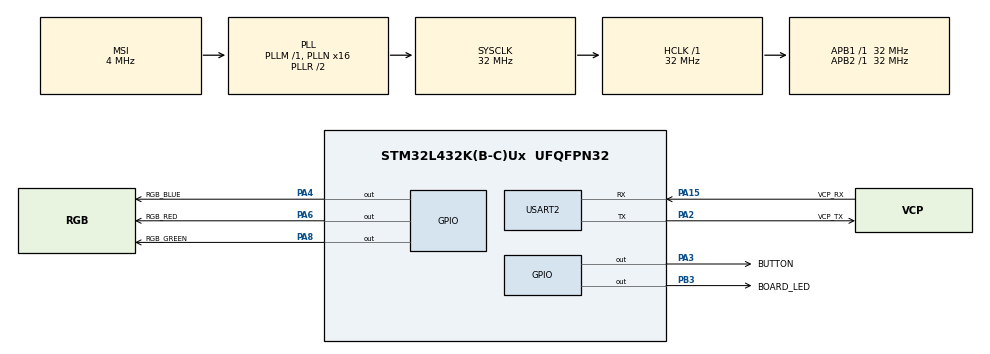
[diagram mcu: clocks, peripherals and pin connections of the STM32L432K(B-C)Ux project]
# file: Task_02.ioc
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Mcu.Family=STM32L4
Mcu.Name=STM32L432K(B-C)Ux
Mcu.Package=UFQFPN32
NVIC.PriorityGroup=NVIC_PRIORITYGROUP_4
NVIC.TIM1_UP_TIM16_IRQn=true\:0\:0\:false\:false\:true\:true\:true
PA0.GPIO_Label=MCO [High speed clock in]
PA0.Mode=HSE-External-Clock-Source-for-LittleOrca
PA0.Signal=RCC_CK_IN
PA13\ (JTMS-SWDIO).GPIO_Label=SWDIO
PA13\ (JTMS-SWDIO).Mode=Serial_Wire
PA13\ (JTMS-SWDIO).Signal=SYS_JTMS-SWDIO
PA14\ (JTCK-SWCLK).GPIO_Label=SWCLK
PA14\ (JTCK-SWCLK).Mode=Serial_Wire
PA14\ (JTCK-SWCLK).Signal=SYS_JTCK-SWCLK
PA15\ (JTDI).GPIO_Label=VCP_RX
PA15\ (JTDI).Mode=Asynchronous
PA15\ (JTDI).Signal=USART2_RX
PA2.GPIO_Label=VCP_TX
PA2.Mode=Asynchronous
PA2.Signal=USART2_TX
PA3.GPIO_Label=BUTTON
PA3.Signal=GPIO_Output
PA4.GPIO_Label=RGB_BLUE
PA4.Signal=GPIO_Output
PA6.GPIO_Label=RGB_RED
PA6.Signal=GPIO_Output
PA8.GPIO_Label=RGB_GREEN
PA8.Signal=GPIO_Output
PB3\ (JTDO-TRACESWO).GPIO_Label=BOARD_LED
PB3\ (JTDO-TRACESWO).Signal=GPIO_Output
PC14-OSC32_IN\ (PC14).Mode=LSE-External-Oscillator
PC14-OSC32_IN\ (PC14).Signal=RCC_OSC32_IN
PC15-OSC32_OUT\ (PC15).Mode=LSE-External-Oscillator
PC15-OSC32_OUT\ (PC15).Signal=RCC_OSC32_OUT
ProjectManager.HeapSize=0x200
ProjectManager.StackSize=0x400
ProjectManager.TargetToolchain=STM32CubeIDE
RCC.AHBFreq_Value=32000000
RCC.APB1Freq_Value=32000000
RCC.APB1TimFreq_Value=32000000
RCC.APB2Freq_Value=32000000
RCC.APB2TimFreq_Value=32000000
RCC.CortexFreq_Value=32000000
RCC.HCLKFreq_Value=32000000
RCC.HSE_VALUE=8000000
RCC.HSI16_VALUE=16000000
RCC.HSI48_VALUE=48000000
RCC.HSI_VALUE=16000000
RCC.MSI_VALUE=4000000
RCC.PLLMUL=RCC_PLLMUL_4
RCC.PLLN=16
RCC.SYSCLKFreq_VALUE=32000000
RCC.SYSCLKSource=RCC_SYSCLKSOURCE_PLLCLK
RCC.VCOOutputFreq_Value=64000000
TIM16.AutoReloadPreload=TIM_AUTORELOAD_PRELOAD_ENABLE
TIM16.Period=65536-1
TIM16.Prescaler=32000-1
USART2.VirtualMode-Asynchronous=VM_ASYNC
VP_TIM16_VS_ClockSourceINT.Mode=Enable_Timer
board=NUCLEO-L432KC

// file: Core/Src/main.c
/* USER CODE BEGIN Header */
/**
  ******************************************************************************
  * @file           : main.c
  * @brief          : Main program body
  ******************************************************************************
  * @attention
  *
  * <h2><center>&copy; Copyright (c) 2021 STMicroelectronics.
  * All rights reserved.</center></h2>
  *
  * This software component is licensed by ST under BSD 3-Clause license,
  * the "License"; You may not use this file except in compliance with the
  * License. You may obtain a copy of the License at:
  *                        opensource.org/licenses/BSD-3-Clause
  *
  ******************************************************************************
  */
/* USER CODE END Header */
#include "main.h"

/* USER CODE BEGIN PD */
// Page 1138 - HAL Reference - Callback Registration
//#define USE_HAL_TIM_REGISTER_CALLBACK 1
/* USER CODE END PD */

/* USER CODE BEGIN PM */

// Uncomment this to test timeout_blocking functionality
//#define BLOCKING
// Uncomment this to test timeout_nonblocking functionality
#define NON_BLOCKING

/* USER CODE END PM */

TIM_HandleTypeDef htim16;

UART_HandleTypeDef huart2;

/* USER CODE BEGIN PV */
uint8_t callback_flag = 0;
uint8_t timer_flag = 0;
uint8_t led_switcher = 0;
enum switcher{
	RED,
	GREEN,
	BLUE,
	OFF
};
//void *callback;
// Definition can be overridden to use different return types or parameters
#ifndef CALLBACK
#define CALLBACK
typedef void (*CB)(void);
CB callback=NULL;
#endif
/* USER CODE END PV */

void SystemClock_Config(void);
static void MX_GPIO_Init(void);
static void MX_USART2_UART_Init(void);
static void MX_TIM16_Init(void);
/* USER CODE BEGIN PFP */
void _tim_timeout_blocking(uint16_t ms);
void _tim_timeout_nonblocking_with_callback(unsigned int ms, void (*cb)(void));
void my_callback(void);
/* USER CODE END PFP */

int main(void)
{

  /* MCU Configuration--------------------------------------------------------*/

  /* Reset of all peripherals, Initializes the Flash interface and the Systick. */
  HAL_Init();

  /* Configure the system clock */
  SystemClock_Config();

  /* Initialize all configured peripherals */
  MX_GPIO_Init();
  MX_USART2_UART_Init();
  MX_TIM16_Init();
  /* USER CODE BEGIN 2 */
  // Deactivate LEDs from the beginning.
  HAL_GPIO_WritePin(GPIOA, RGB_RED_Pin|RGB_GREEN_Pin|RGB_BLUE_Pin, GPIO_PIN_SET);
  HAL_GPIO_WritePin(BOARD_LED_GPIO_Port, BOARD_LED_Pin, GPIO_PIN_RESET);
  /* USER CODE END 2 */

  /* Infinite loop */
  /* USER CODE BEGIN WHILE */
  while (1)
  {
#ifdef BLOCKING
	  _tim_timeout_blocking(1000);
#endif

#ifdef NON_BLOCKING
	  _tim_timeout_nonblocking_with_callback(1000, my_callback);
//	   Activate sleep mode (because otherwise nonblocking would be resetting itself
	  HAL_SuspendTick(); // System-Ticks act as Interrupts and need to be deactivated
	  HAL_PWR_EnterSLEEPMode(PWR_MAINREGULATOR_ON, PWR_SLEEPENTRY_WFI);
	  HAL_ResumeTick(); // Reactivate system-ticks
	  if(callback_flag) {
		  switch(led_switcher) {
		  case RED:
			  HAL_GPIO_WritePin(RGB_RED_GPIO_Port, RGB_RED_Pin, GPIO_PIN_RESET);
			  break;
		  case GREEN:
			  HAL_GPIO_WritePin(RGB_GREEN_GPIO_Port, RGB_GREEN_Pin, GPIO_PIN_RESET);
			  break;
		  case BLUE:
			  HAL_GPIO_WritePin(RGB_BLUE_GPIO_Port, RGB_BLUE_Pin, GPIO_PIN_RESET);
			  break;
		  case OFF:
			  break;
		  }
		  callback_flag = 0; // Reset callback flag
	  }
#endif

    /* USER CODE END WHILE */

  }
}

void SystemClock_Config(void)
{
  RCC_OscInitTypeDef RCC_OscInitStruct = {0};
  RCC_ClkInitTypeDef RCC_ClkInitStruct = {0};

  /** Configure the main internal regulator output voltage
  */
  if (HAL_PWREx_ControlVoltageScaling(PWR_REGULATOR_VOLTAGE_SCALE1) != HAL_OK)
  {
    Error_Handler();
  }
  /** Configure LSE Drive Capability
  */
  HAL_PWR_EnableBkUpAccess();
  __HAL_RCC_LSEDRIVE_CONFIG(RCC_LSEDRIVE_LOW);
  /** Initializes the RCC Oscillators according to the specified parameters
  * in the RCC_OscInitTypeDef structure.
  */
  RCC_OscInitStruct.OscillatorType = RCC_OSCILLATORTYPE_LSE|RCC_OSCILLATORTYPE_MSI;
  RCC_OscInitStruct.LSEState = RCC_LSE_ON;
  RCC_OscInitStruct.MSIState = RCC_MSI_ON;
  RCC_OscInitStruct.MSICalibrationValue = 0;
  RCC_OscInitStruct.MSIClockRange = RCC_MSIRANGE_6;
  RCC_OscInitStruct.PLL.PLLState = RCC_PLL_ON;
  RCC_OscInitStruct.PLL.PLLSource = RCC_PLLSOURCE_MSI;
  RCC_OscInitStruct.PLL.PLLM = 1;
  RCC_OscInitStruct.PLL.PLLN = 16;
  RCC_OscInitStruct.PLL.PLLP = RCC_PLLP_DIV7;
  RCC_OscInitStruct.PLL.PLLQ = RCC_PLLQ_DIV2;
  RCC_OscInitStruct.PLL.PLLR = RCC_PLLR_DIV2;
  if (HAL_RCC_OscConfig(&RCC_OscInitStruct) != HAL_OK)
  {
    Error_Handler();
  }
  /** Initializes the CPU, AHB and APB buses clocks
  */
  RCC_ClkInitStruct.ClockType = RCC_CLOCKTYPE_HCLK|RCC_CLOCKTYPE_SYSCLK
                              |RCC_CLOCKTYPE_PCLK1|RCC_CLOCKTYPE_PCLK2;
  RCC_ClkInitStruct.SYSCLKSource = RCC_SYSCLKSOURCE_PLLCLK;
  RCC_ClkInitStruct.AHBCLKDivider = RCC_SYSCLK_DIV1;
  RCC_ClkInitStruct.APB1CLKDivider = RCC_HCLK_DIV1;
  RCC_ClkInitStruct.APB2CLKDivider = RCC_HCLK_DIV1;

  if (HAL_RCC_ClockConfig(&RCC_ClkInitStruct, FLASH_LATENCY_1) != HAL_OK)
  {
    Error_Handler();
  }
  /** Enable MSI Auto calibration
  */
  HAL_RCCEx_EnableMSIPLLMode();
}

static void MX_TIM16_Init(void)
{

  htim16.Instance = TIM16;
  htim16.Init.Prescaler = 32000-1;
  htim16.Init.CounterMode = TIM_COUNTERMODE_UP;
  htim16.Init.Period = 65536-1;
  htim16.Init.ClockDivision = TIM_CLOCKDIVISION_DIV1;
  htim16.Init.RepetitionCounter = 0;
  htim16.Init.AutoReloadPreload = TIM_AUTORELOAD_PRELOAD_ENABLE;
  if (HAL_TIM_Base_Init(&htim16) != HAL_OK)
  {
    Error_Handler();
  }

}

static void MX_USART2_UART_Init(void)
{

  huart2.Instance = USART2;
  huart2.Init.BaudRate = 115200;
  huart2.Init.WordLength = UART_WORDLENGTH_8B;
  huart2.Init.StopBits = UART_STOPBITS_1;
  huart2.Init.Parity = UART_PARITY_NONE;
  huart2.Init.Mode = UART_MODE_TX_RX;
  huart2.Init.HwFlowCtl = UART_HWCONTROL_NONE;
  huart2.Init.OverSampling = UART_OVERSAMPLING_16;
  huart2.Init.OneBitSampling = UART_ONE_BIT_SAMPLE_DISABLE;
  huart2.AdvancedInit.AdvFeatureInit = UART_ADVFEATURE_NO_INIT;
  if (HAL_UART_Init(&huart2) != HAL_OK)
  {
    Error_Handler();
  }

}

static void MX_GPIO_Init(void)
{
  GPIO_InitTypeDef GPIO_InitStruct = {0};

  /* GPIO Ports Clock Enable */
  __HAL_RCC_GPIOC_CLK_ENABLE();
  __HAL_RCC_GPIOA_CLK_ENABLE();
  __HAL_RCC_GPIOB_CLK_ENABLE();

  /*Configure GPIO pin Output Level */
  HAL_GPIO_WritePin(GPIOA, BUTTON_Pin|RGB_BLUE_Pin|RGB_RED_Pin|RGB_GREEN_Pin, GPIO_PIN_RESET);

  /*Configure GPIO pin Output Level */
  HAL_GPIO_WritePin(BOARD_LED_GPIO_Port, BOARD_LED_Pin, GPIO_PIN_RESET);

  /*Configure GPIO pins : BUTTON_Pin RGB_BLUE_Pin RGB_RED_Pin RGB_GREEN_Pin */
  GPIO_InitStruct.Pin = BUTTON_Pin|RGB_BLUE_Pin|RGB_RED_Pin|RGB_GREEN_Pin;
  GPIO_InitStruct.Mode = GPIO_MODE_OUTPUT_PP;
  GPIO_InitStruct.Pull = GPIO_NOPULL;
  GPIO_InitStruct.Speed = GPIO_SPEED_FREQ_LOW;
  HAL_GPIO_Init(GPIOA, &GPIO_InitStruct);

  /*Configure GPIO pin : BOARD_LED_Pin */
  GPIO_InitStruct.Pin = BOARD_LED_Pin;
  GPIO_InitStruct.Mode = GPIO_MODE_OUTPUT_PP;
  GPIO_InitStruct.Pull = GPIO_NOPULL;
  GPIO_InitStruct.Speed = GPIO_SPEED_FREQ_LOW;
  HAL_GPIO_Init(BOARD_LED_GPIO_Port, &GPIO_InitStruct);

}

/* USER CODE BEGIN 4 */
void HAL_TIM_PeriodElapsedCallback(TIM_HandleTypeDef *htim) {
#ifdef NON_BLOCKING
	if(htim == &htim16) {
		// Stop the timer
		HAL_TIM_Base_Stop_IT(&htim16);
		// I couldn't figure out how to do this without a global variable
		// I've read the section about Callback Registration but I had no idea how to implement it
		// In general user callbacks can be realized using Callback Registration (look it up in HAL reference)
		(*callback)();
	}
#endif
#ifdef BLOCKING
	if (htim == &htim16) {
		// Only when interrupt is used - but I couldn't make it work
		// Deactivate LED in here, when insanity hits...
//		HAL_GPIO_WritePin(BOARD_LED_GPIO_Port, BOARD_LED_Pin, GPIO_PIN_RESET);

		// Stop the Timer Interrupt
		HAL_TIM_Base_Stop_IT(&htim16);
		// Toggle LED when testing how the program should be run
		HAL_GPIO_TogglePin(BOARD_LED_GPIO_Port, BOARD_LED_Pin);
	}
#endif
}
void _tim_timeout_blocking(uint16_t ms) {
	// Set autoreload to specified milliseconds
	// This assumes that the *.ioc configuration is set to have 1ms per tick
	__HAL_TIM_SET_AUTORELOAD(&htim16, ms);
	// Set counter to 0 for sanity (redundant - just making sure)
	__HAL_TIM_SET_COUNTER(&htim16, 0);
	// Event generation register => Update generation (Reinitialize counter & update registers)
	TIM16->EGR = 1;
	// Status register => Reset Update Interrupt Flag (Because it was set by EGR - line above)
	// Barebone: TIM16->SR &= 0
	__HAL_TIM_CLEAR_FLAG(&htim16, TIM_FLAG_UPDATE);

	// Barebone Variante
	// TIM16->DIER |= 1; // Timer aktivieren
	// TIM16->CR1 |= 1; // Start counter by setting Counter-Enable-Bit CEN

	// Variante 1 - Using just timer as counter without sleep mode and interrupts
//	HAL_TIM_Base_Start(&htim16);
	// Also could use Interrupts for activating LED or doing something else.
	// Wait for timer to reach target. (Instead of Sleep mode)
//	while(1) {
//		if(__HAL_TIM_GET_COUNTER(&htim16) >= ms) break;
//	}

	// Variante 2 - Using interrupts with sleep mode
	HAL_TIM_Base_Start_IT(&htim16);
	// Alternative to using the HAL function
//	__HAL_TIM_ENABLE_IT(&htim16, TIM_IT_UPDATE);
	// Enter sleep mode until Interrupt wakes up MCU
	HAL_SuspendTick(); // System-Ticks act as Interrupts and need to be deactivated
	HAL_PWR_EnterSLEEPMode(PWR_MAINREGULATOR_ON, PWR_SLEEPENTRY_WFI);
	HAL_ResumeTick(); // Reactivate system-ticks
	// Exits sleep mode on interrupt
}
void _tim_timeout_nonblocking_with_callback(unsigned int ms, CB cb) {
	callback = cb; // Set global function pointer variable to callback
	// Activate flag for switching LEDs in main-loop
	// This flag is also used to differentiate between blocking and nonblocking
	callback_flag = 1;
	// Set autoreload to specified milliseconds
	// This assumes that the configuration is set to have 1ms per tick
	__HAL_TIM_SET_AUTORELOAD(&htim16, ms);
	// Set counter to 0 for sanity (redundant - just making sure)
	__HAL_TIM_SET_COUNTER(&htim16, 0);
	// Event generation register => Update generation (Reinitialize counter & update registers)
	TIM16->EGR = 1;
	// Status register => Reset Update Interrupt Flag (Because it was set by EGR - line above)
	// Barebone: TIM16->SR &= 0
	__HAL_TIM_CLEAR_FLAG(&htim16, TIM_FLAG_UPDATE);
	HAL_TIM_Base_Start_IT(&htim16);
}
void my_callback(void) {
	// Switch to next led
	led_switcher++;
	// Reset to 0 on last mode
	if(led_switcher >= 4) {
		led_switcher = 0;
	}
	// Disable all LEDs, so next one can turn on.
	HAL_GPIO_WritePin(GPIOA, RGB_RED_Pin|RGB_GREEN_Pin|RGB_BLUE_Pin, GPIO_PIN_SET);
}
/* USER CODE END 4 */

void Error_Handler(void)
{
  __disable_irq();
  while (1)
  {
  }
}

/************************ (C) COPYRIGHT STMicroelectronics *****END OF FILE****/
